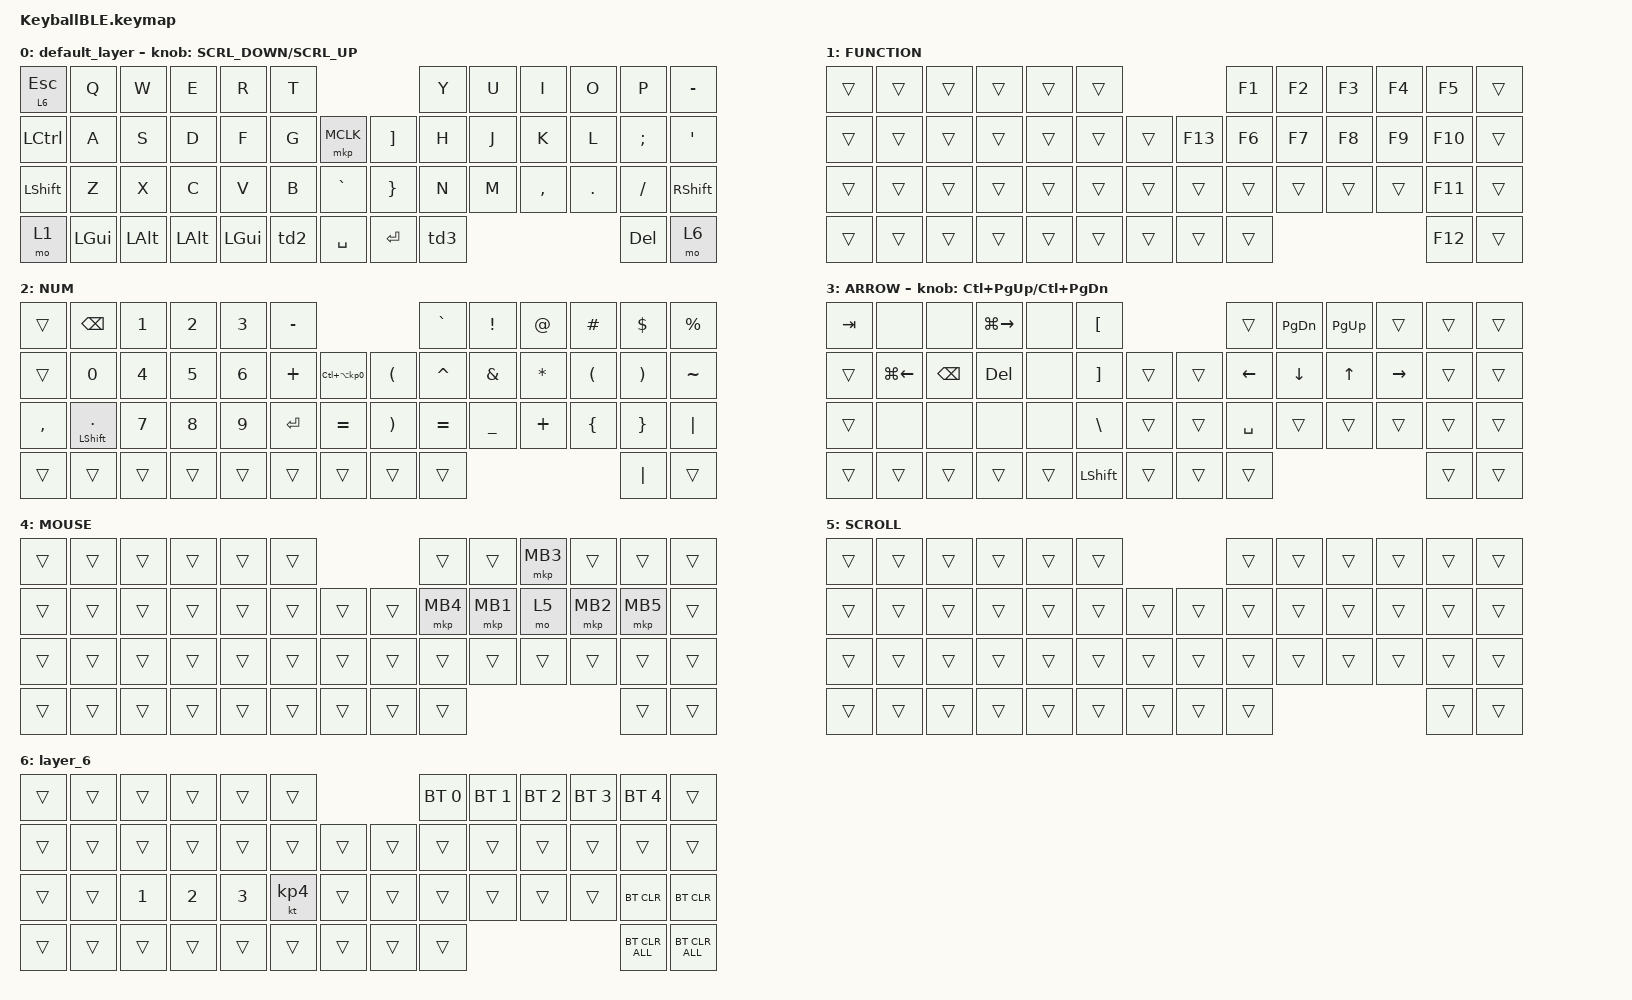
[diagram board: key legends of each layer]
#define ZMK_POINTING_DEFAULT_SCRL_VAL 120    // default: 10

#include <behaviors.dtsi>
#include <dt-bindings/zmk/bt.h>
#include <dt-bindings/zmk/keys.h>
#include <dt-bindings/zmk/pointing.h>

#define MOUSE 4
#define SCROLL 5
#define NUM 6

&mt {
    flavor = "balanced";
    quick-tap-ms = <0>;
};

/ {
    combos {
        compatible = "zmk,combos";

        double_quotation {
            bindings = <&kp DOUBLE_QUOTES>;
            key-positions = <26 44 12>;
        };
    };

    macros {
        to_layer_0: to_layer_0 {
            compatible = "zmk,behavior-macro-one-param";
            #binding-cells = <1>;
            bindings = <&to 0 &macro_param_1to1 &kp MACRO_PLACEHOLDER>;
            label = "TO_LAYER_0";
        };
    };

    behaviors {
        lt_to_layer_0: lt_to_layer_0 {
            compatible = "zmk,behavior-hold-tap";
            label = "LAYER_TAP_TO_0";
            bindings = <&mo>, <&to_layer_0>;

            #binding-cells = <2>;
            tapping-term-ms = <200>;
        };

        ROTATE: ROTATE {
            compatible = "zmk,behavior-sensor-rotate-var";
            label = "ROTATE";
            #sensor-binding-cells = <2>;
            bindings = <&msc>, <&msc>;

            tap-ms = <20>;
        };

        td2: td2 {
            compatible = "zmk,behavior-tap-dance";
            label = "TD2";
            #binding-cells = <0>;
            bindings = <&mo 2>, <&kp LANG2>;

            tapping-term-ms = <220>;
        };

        td3: td3 {
            compatible = "zmk,behavior-tap-dance";
            label = "TD3";
            #binding-cells = <0>;
            bindings = <&mo 3>, <&kp LANG1>;

            tapping-term-ms = <220>;
        };
    };

    keymap {
        compatible = "zmk,keymap";

        default_layer {
            bindings = <
&lt 6 ESC         &kp Q     &kp W     &kp E         &kp R         &kp T                                  &kp Y  &kp U  &kp I      &kp O    &kp P          &kp MINUS
&kp LEFT_CONTROL  &kp A     &kp S     &kp D         &kp F         &kp G  &mkp MCLK    &kp RIGHT_BRACKET  &kp H  &kp J  &kp K      &kp L    &kp SEMICOLON  &kp SINGLE_QUOTE
&kp LSHFT         &kp Z     &kp X     &kp C         &kp V         &kp B  &kp GRAVE    &kp RIGHT_BRACE    &kp N  &kp M  &kp COMMA  &kp DOT  &kp FSLH       &kp RSHFT
&mo 1             &kp LGUI  &kp LALT  &kp LEFT_ALT  &kp LEFT_GUI  &td2   &kp SPACE    &kp ENTER          &td3                              &kp DEL        &mo 6
            >;

            sensor-bindings = <&ROTATE SCRL_DOWN SCRL_UP>;
        };

        FUNCTION {
            bindings = <
&trans  &trans  &trans  &trans  &trans  &trans                     &kp F1  &kp F2  &kp F3  &kp F4  &kp F5   &trans
&trans  &trans  &trans  &trans  &trans  &trans  &trans    &kp F13  &kp F6  &kp F7  &kp F8  &kp F9  &kp F10  &trans
&trans  &trans  &trans  &trans  &trans  &trans  &trans    &trans   &trans  &trans  &trans  &trans  &kp F11  &trans
&trans  &trans  &trans  &trans  &trans  &trans  &trans    &trans   &trans                          &kp F12  &trans
            >;
        };

        NUM {
            bindings = <
&trans     &kp BACKSPACE          &kp NUMBER_1  &kp NUMBER_2  &kp NUMBER_3  &kp MINUS                                                    &kp GRAVE  &kp EXCLAMATION  &kp AT_SIGN   &kp HASH              &kp DOLLAR             &kp PERCENT
&trans     &kp NUMBER_0           &kp NUMBER_4  &kp NUMBER_5  &kp NUMBER_6  &kp PLUS   &kp LC(LA(KP_NUMBER_0))    &kp LEFT_PARENTHESIS   &kp CARET  &kp AMPERSAND    &kp ASTERISK  &kp LEFT_PARENTHESIS  &kp RIGHT_PARENTHESIS  &kp TILDE
&kp COMMA  &mt LEFT_SHIFT PERIOD  &kp NUMBER_7  &kp NUMBER_8  &kp NUMBER_9  &kp ENTER  &kp EQUAL                  &kp RIGHT_PARENTHESIS  &kp EQUAL  &kp UNDERSCORE   &kp PLUS      &kp LEFT_BRACE        &kp RIGHT_BRACE        &kp PIPE
&trans     &trans                 &trans        &trans        &trans        &trans     &trans                     &trans                 &trans                                                          &kp PIPE               &trans
            >;
        };

        ARROW {
            bindings = <
&kp TAB  &none               &none          &kp LG(RIGHT_ARROW)  &none   &kp LEFT_BRACKET                     &trans          &kp PAGE_DOWN  &kp PAGE_UP   &trans           &trans  &trans
&trans   &kp LG(LEFT_ARROW)  &kp BACKSPACE  &kp DELETE           &none   &kp RIGHT_BRACKET  &trans    &trans  &kp LEFT_ARROW  &kp DOWN       &kp UP_ARROW  &kp RIGHT_ARROW  &trans  &trans
&trans   &none               &none          &none                &none   &kp BACKSLASH      &trans    &trans  &kp SPACE       &trans         &trans        &trans           &trans  &trans
&trans   &trans              &trans         &trans               &trans  &kp LEFT_SHIFT     &trans    &trans  &trans                                                        &trans  &trans
            >;

            sensor-bindings = <&inc_dec_kp LC(PAGE_UP) LC(PAGE_DOWN)>;
        };

        MOUSE {
            bindings = <
&trans  &trans  &trans  &trans  &trans  &trans                    &trans    &trans    &mkp MB3  &trans    &trans    &trans
&trans  &trans  &trans  &trans  &trans  &trans  &trans    &trans  &mkp MB4  &mkp MB1  &mo 5     &mkp MB2  &mkp MB5  &trans
&trans  &trans  &trans  &trans  &trans  &trans  &trans    &trans  &trans    &trans    &trans    &trans    &trans    &trans
&trans  &trans  &trans  &trans  &trans  &trans  &trans    &trans  &trans                                  &trans    &trans
            >;
        };

        SCROLL {
            bindings = <
&trans  &trans  &trans  &trans  &trans  &trans                    &trans  &trans  &trans  &trans  &trans  &trans
&trans  &trans  &trans  &trans  &trans  &trans  &trans    &trans  &trans  &trans  &trans  &trans  &trans  &trans
&trans  &trans  &trans  &trans  &trans  &trans  &trans    &trans  &trans  &trans  &trans  &trans  &trans  &trans
&trans  &trans  &trans  &trans  &trans  &trans  &trans    &trans  &trans                          &trans  &trans
            >;
        };

        layer_6 {
            bindings = <
&trans  &trans  &trans        &trans        &trans        &trans                       &bt BT_SEL 0  &bt BT_SEL 1  &bt BT_SEL 2  &bt BT_SEL 3  &bt BT_SEL 4    &trans
&trans  &trans  &trans        &trans        &trans        &trans     &trans    &trans  &trans        &trans        &trans        &trans        &trans          &trans
&trans  &trans  &kp NUMBER_1  &kp NUMBER_2  &kp NUMBER_3  &kt KP_N4  &trans    &trans  &trans        &trans        &trans        &trans        &bt BT_CLR      &bt BT_CLR
&trans  &trans  &trans        &trans        &trans        &trans     &trans    &trans  &trans                                                  &bt BT_CLR_ALL  &bt BT_CLR_ALL
            >;
        };
    };
};
